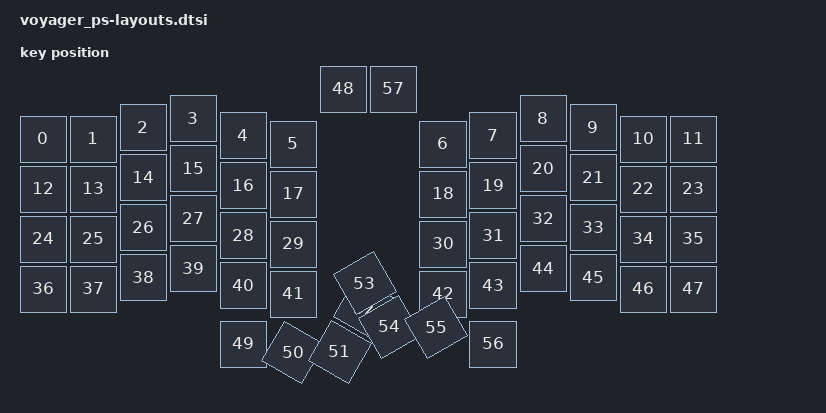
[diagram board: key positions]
#include <physical_layouts.dtsi>

/ {
    default_layout: default_layout {
        compatible = "zmk,physical-layout";
        display-name = "Default Layout";
        transform = <&default_transform>;
        kscan = <&kscan>;

        keys  //                     w   h    x    y     rot    rx    ry
            // Left hand - Row 0 (num)
            = <&key_physical_attrs 100 100    0   41       0     0     0>    // outer
            , <&key_physical_attrs 100 100  100   41       0     0     0>    // pinkey
            , <&key_physical_attrs 100 100  200   18       0     0     0>    // ring
            , <&key_physical_attrs 100 100  300    0       0     0     0>    // middle
            , <&key_physical_attrs 100 100  400   34       0     0     0>    // index
            , <&key_physical_attrs 100 100  500   51       0     0     0>    // inner
            // Right hand - Row 0 (num)
            , <&key_physical_attrs 100 100  800   51       0     0     0>    // inner
            , <&key_physical_attrs 100 100  900   34       0     0     0>    // index
            , <&key_physical_attrs 100 100 1000    0       0     0     0>    // middle
            , <&key_physical_attrs 100 100 1100   18       0     0     0>    // ring
            , <&key_physical_attrs 100 100 1200   41       0     0     0>    // pinkey
            , <&key_physical_attrs 100 100 1300   41       0     0     0>    // outer

            // Left hand - Row 1 (top)
            , <&key_physical_attrs 100 100    0  141       0     0     0>
            , <&key_physical_attrs 100 100  100  141       0     0     0>
            , <&key_physical_attrs 100 100  200  118       0     0     0>
            , <&key_physical_attrs 100 100  300  100       0     0     0>
            , <&key_physical_attrs 100 100  400  134       0     0     0>
            , <&key_physical_attrs 100 100  500  151       0     0     0>
            // Right hand - Row 1 (top)
            , <&key_physical_attrs 100 100  800  151       0     0     0>
            , <&key_physical_attrs 100 100  900  134       0     0     0>
            , <&key_physical_attrs 100 100 1000  100       0     0     0>
            , <&key_physical_attrs 100 100 1100  118       0     0     0>
            , <&key_physical_attrs 100 100 1200  141       0     0     0>
            , <&key_physical_attrs 100 100 1300  141       0     0     0>

            // Left hand - Row 2 (home)
            , <&key_physical_attrs 100 100    0  241       0     0     0>
            , <&key_physical_attrs 100 100  100  241       0     0     0>
            , <&key_physical_attrs 100 100  200  218       0     0     0>
            , <&key_physical_attrs 100 100  300  200       0     0     0>
            , <&key_physical_attrs 100 100  400  234       0     0     0>
            , <&key_physical_attrs 100 100  500  251       0     0     0>
            // Right hand - Row 2 (home)
            , <&key_physical_attrs 100 100  800  251       0     0     0>
            , <&key_physical_attrs 100 100  900  234       0     0     0>
            , <&key_physical_attrs 100 100 1000  200       0     0     0>
            , <&key_physical_attrs 100 100 1100  218       0     0     0>
            , <&key_physical_attrs 100 100 1200  241       0     0     0>
            , <&key_physical_attrs 100 100 1300  241       0     0     0>

            // Left hand - Row 3 (bottom)
            , <&key_physical_attrs 100 100    0  341       0     0     0>
            , <&key_physical_attrs 100 100  100  341       0     0     0>
            , <&key_physical_attrs 100 100  200  318       0     0     0>
            , <&key_physical_attrs 100 100  300  300       0     0     0>
            , <&key_physical_attrs 100 100  400  334       0     0     0>
            , <&key_physical_attrs 100 100  500  351       0     0     0>
            // Right hand - Row 3 (bottom)
            , <&key_physical_attrs 100 100  800  351       0     0     0>
            , <&key_physical_attrs 100 100  900  334       0     0     0>
            , <&key_physical_attrs 100 100 1000  300       0     0     0>
            , <&key_physical_attrs 100 100 1100  318       0     0     0>
            , <&key_physical_attrs 100 100 1200  341       0     0     0>
            , <&key_physical_attrs 100 100 1300  341       0     0     0>

            // Left encoder push-button (above outer column, shares P21 row + P9 col)
            , <&key_physical_attrs 100 100  600  (-59)     0     0     0>    // encoder button (left)

            // Left hand - Row 4 (thumb cluster)
            , <&key_physical_attrs 100 100  400  451       0     0     0>    // thumb_left (P14)
            , <&key_physical_attrs 100 100  500  468    3000   550   518>    // thumb_middle (P15, rotated 30deg)
            , <&key_physical_attrs 100 100  580  420    3000   550   518>    // thumb_right (P18, rotated 30deg)
            , <&key_physical_attrs 100 100  580  320    3000   550   518>    // thumb_top (P20, rotated 30deg)
            // Right hand - Row 4 (thumb cluster)
            , <&key_physical_attrs 100 100  720  320  33000   750   518>    // thumb_top (P20, rotated -30deg)
            , <&key_physical_attrs 100 100  720  420  33000   750   518>    // thumb_right (P18, rotated -30deg)
            , <&key_physical_attrs 100 100  800  468  33000   750   518>    // thumb_middle (P15, rotated -30deg)
            , <&key_physical_attrs 100 100  900  451       0     0     0>    // thumb_left (P14)

            // Right encoder push-button (mirror of left)
            , <&key_physical_attrs 100 100  700  (-59)     0     0     0>    // encoder button (right)
            ;
    };
};
